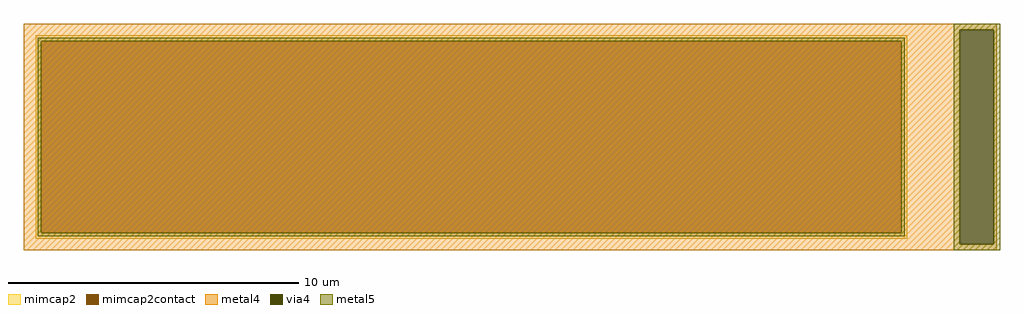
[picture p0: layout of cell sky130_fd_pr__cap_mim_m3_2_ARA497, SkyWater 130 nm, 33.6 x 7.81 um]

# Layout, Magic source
magic
tech sky130A
magscale 1 2
<< metal4 >>
rect -3349 739 3349 780
rect -3349 -739 3093 739
rect 3329 -739 3349 739
rect -3349 -780 3349 -739
<< via4 >>
rect 3093 -739 3329 739
<< mimcap2 >>
rect -3269 660 2731 700
rect -3269 -660 -3229 660
rect 2691 -660 2731 660
rect -3269 -700 2731 -660
<< mimcap2contact >>
rect -3229 -660 2691 660
<< metal5 >>
rect 3051 739 3371 781
rect -3253 660 2715 684
rect -3253 -660 -3229 660
rect 2691 -660 2715 660
rect -3253 -684 2715 -660
rect 3051 -739 3093 739
rect 3329 -739 3371 739
rect 3051 -781 3371 -739
<< properties >>
string FIXED_BBOX -3349 -780 2811 780
string gencell sky130_fd_pr__cap_mim_m3_2
string library sky130
string parameters w 30 l 7 val 434.06 carea 2.00 cperi 0.19 nx 1 ny 1 dummy 0 square 0 lmin 2.00 wmin 2.00 lmax 30.0 wmax 30.0 dc 0 bconnect 1 tconnect 1 ccov 100
<< end >>
